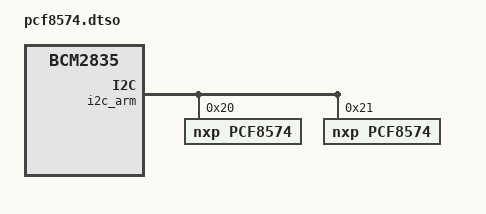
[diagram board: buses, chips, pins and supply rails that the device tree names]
/dts-v1/;
/plugin/;

/ {
	compatible = "brcm,bcm2835";

	fragment@0 {
		target = <&i2c_arm>;
		__overlay__ {
			#address-cells = <1>;
			#size-cells = <0>;
			status = "okay";

			pcf8574@20 {
				compatible = "nxp,pcf8574";
				reg = <0x20>;
				status = "okay";
			};

			pcf8574@21 {
				compatible = "nxp,pcf8574";
				reg = <0x21>;
				status = "okay";
			};
		};
	};
};
